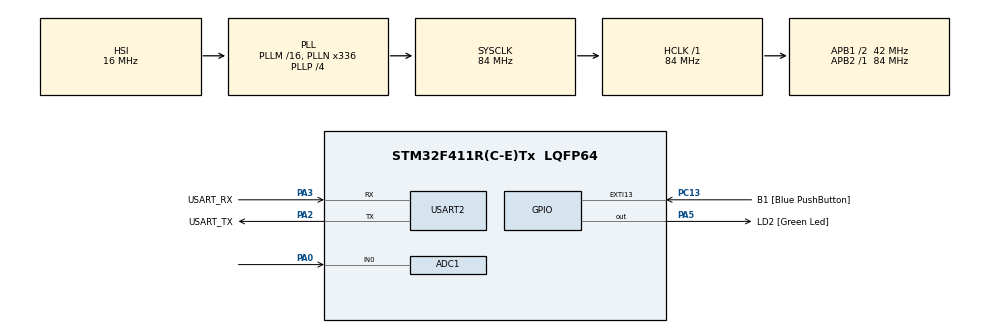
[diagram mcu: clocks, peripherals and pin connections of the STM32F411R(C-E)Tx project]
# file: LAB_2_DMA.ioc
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ADC1.Channel-0\#ChannelRegularConversion=ADC_CHANNEL_TEMPSENSOR
ADC1.Channel-2\#ChannelRegularConversion=ADC_CHANNEL_0
ADC1.ContinuousConvMode=ENABLE
ADC1.DMAContinuousRequests=ENABLE
ADC1.EOCSelection=ADC_EOC_SEQ_CONV
ADC1.NbrOfConversion=2
ADC1.NbrOfConversionFlag=1
ADC1.Rank-0\#ChannelRegularConversion=1
ADC1.Rank-2\#ChannelRegularConversion=2
ADC1.SamplingTime-0\#ChannelRegularConversion=ADC_SAMPLETIME_56CYCLES
ADC1.SamplingTime-2\#ChannelRegularConversion=ADC_SAMPLETIME_56CYCLES
ADC1.master=1
Dma.ADC1.0.Direction=DMA_PERIPH_TO_MEMORY
Dma.ADC1.0.FIFOMode=DMA_FIFOMODE_DISABLE
Dma.ADC1.0.Instance=DMA2_Stream0
Dma.ADC1.0.MemDataAlignment=DMA_MDATAALIGN_HALFWORD
Dma.ADC1.0.MemInc=DMA_MINC_ENABLE
Dma.ADC1.0.Mode=DMA_CIRCULAR
Dma.ADC1.0.PeriphDataAlignment=DMA_PDATAALIGN_HALFWORD
Dma.ADC1.0.PeriphInc=DMA_PINC_DISABLE
Dma.ADC1.0.Priority=DMA_PRIORITY_LOW
Dma.Request0=ADC1
Mcu.Family=STM32F4
Mcu.Name=STM32F411R(C-E)Tx
Mcu.Package=LQFP64
NVIC.ADC_IRQn=true\:0\:0\:false\:false\:true\:true\:true\:true
NVIC.DMA2_Stream0_IRQn=true\:0\:0\:false\:false\:true\:false\:true\:true
NVIC.EXTI15_10_IRQn=true\:0\:0\:false\:false\:true\:true\:true\:true
NVIC.PriorityGroup=NVIC_PRIORITYGROUP_0
PA0-WKUP.Signal=ADCx_IN0
PA13.GPIO_Label=TMS
PA13.Mode=Serial_Wire
PA13.Signal=SYS_JTMS-SWDIO
PA14.GPIO_Label=TCK
PA14.Mode=Serial_Wire
PA14.Signal=SYS_JTCK-SWCLK
PA2.GPIO_Label=USART_TX
PA2.Mode=Asynchronous
PA2.Signal=USART2_TX
PA3.GPIO_Label=USART_RX
PA3.Mode=Asynchronous
PA3.Signal=USART2_RX
PA5.GPIO_Label=LD2 [Green Led]
PA5.Signal=GPIO_Output
PB3.GPIO_Label=SWO
PB3.Signal=SYS_JTDO-SWO
PC13-ANTI_TAMP.GPIO_Label=B1 [Blue PushButton]
PC13-ANTI_TAMP.GPIO_ModeDefaultEXTI=GPIO_MODE_IT_FALLING
PC13-ANTI_TAMP.Signal=GPXTI13
PC14-OSC32_IN.Mode=LSE-External-Oscillator
PC14-OSC32_IN.Signal=RCC_OSC32_IN
PC15-OSC32_OUT.Mode=LSE-External-Oscillator
PC15-OSC32_OUT.Signal=RCC_OSC32_OUT
PH0\ -\ OSC_IN.Mode=HSE-External-Clock-Source
PH0\ -\ OSC_IN.Signal=RCC_OSC_IN
PH1\ -\ OSC_OUT.Mode=HSE-External-Clock-Source
PH1\ -\ OSC_OUT.Signal=RCC_OSC_OUT
ProjectManager.HeapSize=0x200
ProjectManager.StackSize=0x400
ProjectManager.TargetToolchain=STM32CubeIDE
RCC.48MHZClocksFreq_Value=84000000
RCC.AHBFreq_Value=84000000
RCC.APB1CLKDivider=RCC_HCLK_DIV2
RCC.APB1Freq_Value=42000000
RCC.APB1TimFreq_Value=84000000
RCC.APB2Freq_Value=84000000
RCC.APB2TimFreq_Value=84000000
RCC.CortexFreq_Value=84000000
RCC.FLatency-AdvancedSettings=FLASH_LATENCY_2
RCC.HCLKFreq_Value=84000000
RCC.HSE_VALUE=8000000
RCC.HSI_VALUE=16000000
RCC.PLLN=336
RCC.PLLP=RCC_PLLP_DIV4
RCC.SYSCLKFreq_VALUE=84000000
RCC.SYSCLKSource=RCC_SYSCLKSOURCE_PLLCLK
RCC.VCOOutputFreq_Value=336000000
SH.ADCx_IN0.0=ADC1_IN0,IN0
USART2.VirtualMode=VM_ASYNC
VP_ADC1_TempSens_Input.Mode=IN-TempSens
board=NUCLEO-F411RE

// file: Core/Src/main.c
/* USER CODE BEGIN Header */
/**
  ******************************************************************************
  * @file           : main.c
  * @brief          : Main program body
  ******************************************************************************
  * @attention
  *
  * Copyright (c) 2023 STMicroelectronics.
  * All rights reserved.
  *
  * This software is licensed under terms that can be found in the LICENSE file
  * in the root directory of this software component.
  * If no LICENSE file comes with this software, it is provided AS-IS.
  *
  ******************************************************************************
  */
/* USER CODE END Header */
#include "main.h"

ADC_HandleTypeDef hadc1;
DMA_HandleTypeDef hdma_adc1;

UART_HandleTypeDef huart2;

/* USER CODE BEGIN PV */

//Var
//Declare DMA's buffer
typedef struct
{
	uint16_t MCUTempRead;
	uint16_t voltageRead;

}ADC_DMAStruct;

ADC_DMAStruct ADC_DMA[10];
uint16_t sumVoltage;
uint16_t sumTemp;
uint16_t AVGVoltage;
uint16_t AVGTemp;

/* USER CODE END PV */

void SystemClock_Config(void);
static void MX_GPIO_Init(void);
static void MX_DMA_Init(void);
static void MX_USART2_UART_Init(void);
static void MX_ADC1_Init(void);

int main(void)
{

  /* MCU Configuration--------------------------------------------------------*/

  /* Reset of all peripherals, Initializes the Flash interface and the Systick. */
  HAL_Init();

  /* Configure the system clock */
  SystemClock_Config();

  /* Initialize all configured peripherals */
  MX_GPIO_Init();
  MX_DMA_Init();
  MX_USART2_UART_Init();
  MX_ADC1_Init();

  /* Infinite loop */
  /* USER CODE BEGIN WHILE */
  HAL_ADC_Start_DMA(&hadc1, (uint32_t*) ADC_DMA, 20);
  while (1)
  {
    /* USER CODE END WHILE */

    /* USER CODE BEGIN 3 */
	  //1 Hz
	  static uint32_t timestamp = 0;
	  if(HAL_GetTick() >= timestamp)
	  {
		  //Find summation
		  register int i;
		  for(i=0;i<10;i++)
		  {
			  if(i == 0)
			  {
				  sumTemp = 0;
				  sumVoltage = 0;
			  }

			  sumTemp    += ADC_DMA[i].MCUTempRead;
			  sumVoltage += ADC_DMA[i].voltageRead;
		  }

		  //Convert to kelvin
		  AVGTemp = ((((sumTemp/10)/4096)*3.3  - 0.76)/2.5) + 25 + 273.15;
		  //Convert to milli voltage
		  AVGVoltage = (((sumVoltage/10) * 3.3) / 4096) * 1000 * 2;

		  timestamp = HAL_GetTick() + 1000;
	  }
  }
  /* USER CODE END 3 */
}

void SystemClock_Config(void)
{
  RCC_OscInitTypeDef RCC_OscInitStruct = {0};
  RCC_ClkInitTypeDef RCC_ClkInitStruct = {0};

  /** Configure the main internal regulator output voltage
  */
  __HAL_RCC_PWR_CLK_ENABLE();
  __HAL_PWR_VOLTAGESCALING_CONFIG(PWR_REGULATOR_VOLTAGE_SCALE1);

  /** Initializes the RCC Oscillators according to the specified parameters
  * in the RCC_OscInitTypeDef structure.
  */
  RCC_OscInitStruct.OscillatorType = RCC_OSCILLATORTYPE_HSI;
  RCC_OscInitStruct.HSIState = RCC_HSI_ON;
  RCC_OscInitStruct.HSICalibrationValue = RCC_HSICALIBRATION_DEFAULT;
  RCC_OscInitStruct.PLL.PLLState = RCC_PLL_ON;
  RCC_OscInitStruct.PLL.PLLSource = RCC_PLLSOURCE_HSI;
  RCC_OscInitStruct.PLL.PLLM = 16;
  RCC_OscInitStruct.PLL.PLLN = 336;
  RCC_OscInitStruct.PLL.PLLP = RCC_PLLP_DIV4;
  RCC_OscInitStruct.PLL.PLLQ = 4;
  if (HAL_RCC_OscConfig(&RCC_OscInitStruct) != HAL_OK)
  {
    Error_Handler();
  }

  /** Initializes the CPU, AHB and APB buses clocks
  */
  RCC_ClkInitStruct.ClockType = RCC_CLOCKTYPE_HCLK|RCC_CLOCKTYPE_SYSCLK
                              |RCC_CLOCKTYPE_PCLK1|RCC_CLOCKTYPE_PCLK2;
  RCC_ClkInitStruct.SYSCLKSource = RCC_SYSCLKSOURCE_PLLCLK;
  RCC_ClkInitStruct.AHBCLKDivider = RCC_SYSCLK_DIV1;
  RCC_ClkInitStruct.APB1CLKDivider = RCC_HCLK_DIV2;
  RCC_ClkInitStruct.APB2CLKDivider = RCC_HCLK_DIV1;

  if (HAL_RCC_ClockConfig(&RCC_ClkInitStruct, FLASH_LATENCY_2) != HAL_OK)
  {
    Error_Handler();
  }
}

static void MX_ADC1_Init(void)
{

  ADC_ChannelConfTypeDef sConfig = {0};

  /** Configure the global features of the ADC (Clock, Resolution, Data Alignment and number of conversion)
  */
  hadc1.Instance = ADC1;
  hadc1.Init.ClockPrescaler = ADC_CLOCK_SYNC_PCLK_DIV4;
  hadc1.Init.Resolution = ADC_RESOLUTION_12B;
  hadc1.Init.ScanConvMode = ENABLE;
  hadc1.Init.ContinuousConvMode = ENABLE;
  hadc1.Init.DiscontinuousConvMode = DISABLE;
  hadc1.Init.ExternalTrigConvEdge = ADC_EXTERNALTRIGCONVEDGE_NONE;
  hadc1.Init.ExternalTrigConv = ADC_SOFTWARE_START;
  hadc1.Init.DataAlign = ADC_DATAALIGN_RIGHT;
  hadc1.Init.NbrOfConversion = 2;
  hadc1.Init.DMAContinuousRequests = ENABLE;
  hadc1.Init.EOCSelection = ADC_EOC_SEQ_CONV;
  if (HAL_ADC_Init(&hadc1) != HAL_OK)
  {
    Error_Handler();
  }

  /** Configure for the selected ADC regular channel its corresponding rank in the sequencer and its sample time.
  */
  sConfig.Channel = ADC_CHANNEL_TEMPSENSOR;
  sConfig.Rank = 1;
  sConfig.SamplingTime = ADC_SAMPLETIME_56CYCLES;
  if (HAL_ADC_ConfigChannel(&hadc1, &sConfig) != HAL_OK)
  {
    Error_Handler();
  }

  /** Configure for the selected ADC regular channel its corresponding rank in the sequencer and its sample time.
  */
  sConfig.Channel = ADC_CHANNEL_0;
  sConfig.Rank = 2;
  if (HAL_ADC_ConfigChannel(&hadc1, &sConfig) != HAL_OK)
  {
    Error_Handler();
  }

}

static void MX_USART2_UART_Init(void)
{

  huart2.Instance = USART2;
  huart2.Init.BaudRate = 115200;
  huart2.Init.WordLength = UART_WORDLENGTH_8B;
  huart2.Init.StopBits = UART_STOPBITS_1;
  huart2.Init.Parity = UART_PARITY_NONE;
  huart2.Init.Mode = UART_MODE_TX_RX;
  huart2.Init.HwFlowCtl = UART_HWCONTROL_NONE;
  huart2.Init.OverSampling = UART_OVERSAMPLING_16;
  if (HAL_UART_Init(&huart2) != HAL_OK)
  {
    Error_Handler();
  }

}

static void MX_DMA_Init(void)
{

  /* DMA controller clock enable */
  __HAL_RCC_DMA2_CLK_ENABLE();

  /* DMA interrupt init */
  /* DMA2_Stream0_IRQn interrupt configuration */
  HAL_NVIC_SetPriority(DMA2_Stream0_IRQn, 0, 0);
  HAL_NVIC_EnableIRQ(DMA2_Stream0_IRQn);

}

static void MX_GPIO_Init(void)
{
  GPIO_InitTypeDef GPIO_InitStruct = {0};

  /* GPIO Ports Clock Enable */
  __HAL_RCC_GPIOC_CLK_ENABLE();
  __HAL_RCC_GPIOH_CLK_ENABLE();
  __HAL_RCC_GPIOA_CLK_ENABLE();
  __HAL_RCC_GPIOB_CLK_ENABLE();

  /*Configure GPIO pin Output Level */
  HAL_GPIO_WritePin(LD2_GPIO_Port, LD2_Pin, GPIO_PIN_RESET);

  /*Configure GPIO pin : B1_Pin */
  GPIO_InitStruct.Pin = B1_Pin;
  GPIO_InitStruct.Mode = GPIO_MODE_IT_FALLING;
  GPIO_InitStruct.Pull = GPIO_NOPULL;
  HAL_GPIO_Init(B1_GPIO_Port, &GPIO_InitStruct);

  /*Configure GPIO pin : LD2_Pin */
  GPIO_InitStruct.Pin = LD2_Pin;
  GPIO_InitStruct.Mode = GPIO_MODE_OUTPUT_PP;
  GPIO_InitStruct.Pull = GPIO_NOPULL;
  GPIO_InitStruct.Speed = GPIO_SPEED_FREQ_LOW;
  HAL_GPIO_Init(LD2_GPIO_Port, &GPIO_InitStruct);

  /* EXTI interrupt init*/
  HAL_NVIC_SetPriority(EXTI15_10_IRQn, 0, 0);
  HAL_NVIC_EnableIRQ(EXTI15_10_IRQn);

}

void Error_Handler(void)
{
  __disable_irq();
  while (1)
  {
  }
}
